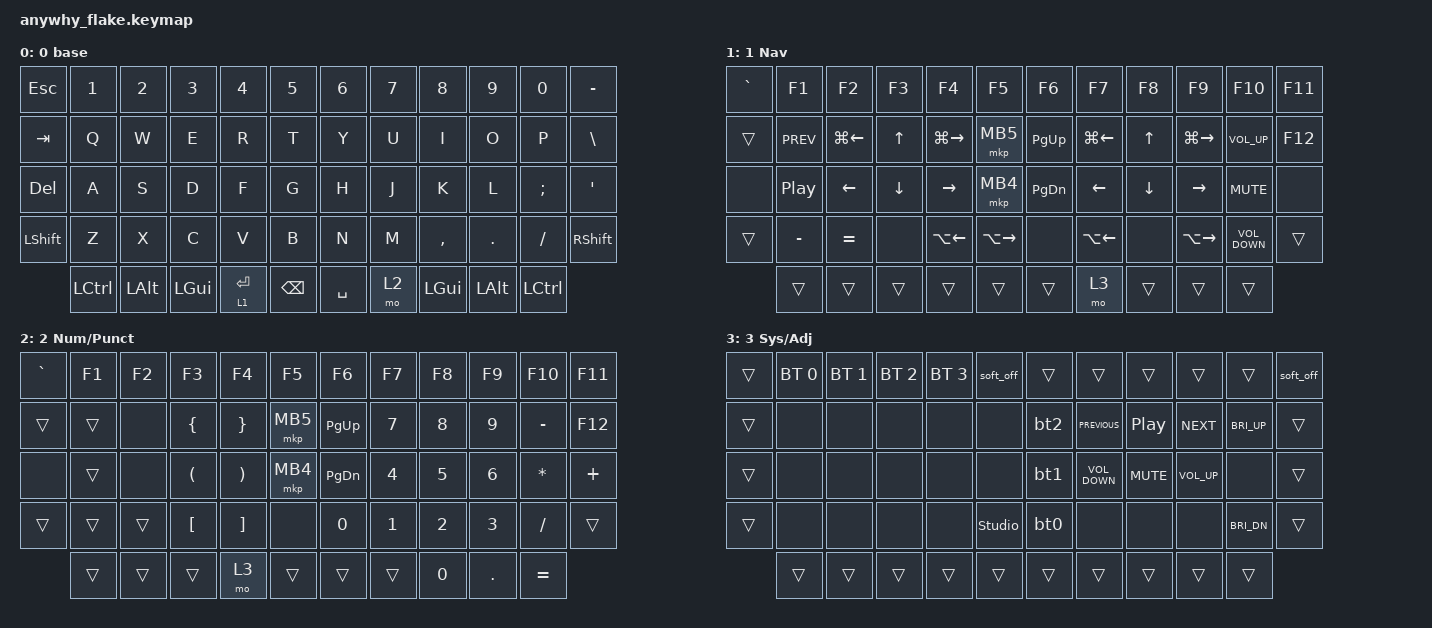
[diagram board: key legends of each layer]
#include <behaviors.dtsi>
#include <dt-bindings/zmk/bt.h>
#include <dt-bindings/zmk/keys.h>
#include <dt-bindings/zmk/pointing.h>

/ {
    combos {
        compatible = "zmk,combos";

        bt_sel_3 {
            bindings = <&bt3>;
            key-positions = <42 30>;
            layers = <3>;
        };

        bt_sel_4 {
            bindings = <&bt4>;
            key-positions = <30 18>;
            layers = <3>;
        };

        CAPLOCK {
            bindings = <&kp CAPSLOCK>;
            key-positions = <36 47>;
            timeout-ms = <100>;
        };
    };

    macros {
        bt_clr_0: bt_clr_0 {
            compatible = "zmk,behavior-macro";
            #binding-cells = <0>;
            bindings = <&bt BT_SEL 0 &bt BT_CLR>;
            label = "BT_CLR_0";
        };

        bt_clr_1: bt_clr_1 {
            compatible = "zmk,behavior-macro";
            #binding-cells = <0>;
            bindings = <&bt BT_SEL 1 &bt BT_CLR>;
            label = "BT_CLR_1";
        };

        bt_clr_2: bt_clr_2 {
            compatible = "zmk,behavior-macro";
            #binding-cells = <0>;
            bindings = <&bt BT_SEL 2 &bt BT_CLR>;
            label = "BT_CLR_2";
        };

        bt_clr_3: bt_clr_3 {
            compatible = "zmk,behavior-macro";
            #binding-cells = <0>;
            bindings = <&bt BT_SEL 3 &bt BT_CLR>;
            label = "BT_CLR_3";
        };

        bt_clr_4: bt_clr_4 {
            compatible = "zmk,behavior-macro";
            #binding-cells = <0>;
            bindings = <&bt BT_SEL 4 &bt BT_CLR>;
            label = "BT_CLR_4";
        };
    };

    behaviors {
        bt0: bt0 {
            compatible = "zmk,behavior-mod-morph";
            label = "BT0";
            bindings = <&bt BT_SEL 0>, <&bt_clr_0>;

            #binding-cells = <0>;
            mods = <(MOD_LSFT|MOD_RSFT)>;
        };

        bt1: bt1 {
            compatible = "zmk,behavior-mod-morph";
            label = "BT1";
            bindings = <&bt BT_SEL 1>, <&bt_clr_1>;

            #binding-cells = <0>;
            mods = <(MOD_LSFT|MOD_RSFT)>;
        };

        bt2: bt2 {
            compatible = "zmk,behavior-mod-morph";
            label = "BT2";
            bindings = <&bt BT_SEL 2>, <&bt_clr_2>;

            #binding-cells = <0>;
            mods = <(MOD_LSFT|MOD_RSFT)>;
        };

        bt3: bt3 {
            compatible = "zmk,behavior-mod-morph";
            label = "BT3";
            bindings = <&bt BT_SEL 3>, <&bt_clr_3>;

            #binding-cells = <0>;
            mods = <(MOD_LSFT|MOD_RSFT)>;
        };

        bt4: bt4 {
            compatible = "zmk,behavior-mod-morph";
            label = "BT4";
            bindings = <&bt BT_SEL 4>, <&bt_clr_4>;

            #binding-cells = <0>;
            mods = <(MOD_LSFT|MOD_RSFT)>;
        };
    };

    keymap {
        compatible = "zmk,keymap";

        base {
            bindings = <
&kp ESC    &kp N1     &kp N2    &kp N3    &kp N4       &kp N5           &kp N6     &kp N7  &kp N8     &kp N9    &kp N0     &kp MINUS
&kp TAB    &kp Q      &kp W     &kp E     &kp R        &kp T            &kp Y      &kp U   &kp I      &kp O     &kp P      &kp BSLH
&kp DEL    &kp A      &kp S     &kp D     &kp F        &kp G            &kp H      &kp J   &kp K      &kp L     &kp SEMI   &kp APOS
&kp LSHFT  &kp Z      &kp X     &kp C     &kp V        &kp B            &kp N      &kp M   &kp COMMA  &kp DOT   &kp FSLH   &kp RSHFT
           &kp LCTRL  &kp LALT  &kp LGUI  &lt 1 ENTER  &kp BACKSPACE    &kp SPACE  &mo 2   &kp LGUI   &kp LALT  &kp LCTRL
            >;

            display-name = "0 base";
        };

        nav {
            bindings = <
&kp GRAVE  &kp F1      &kp F2              &kp F3          &kp F4               &kp F5           &kp F6         &kp F7              &kp F8          &kp F9               &kp F10            &kp F11
&trans     &kp C_PREV  &kp LG(LEFT_ARROW)  &kp UP_ARROW    &kp LG(RIGHT_ARROW)  &mkp MB5         &kp PAGE_UP    &kp LG(LEFT_ARROW)  &kp UP_ARROW    &kp LG(RIGHT_ARROW)  &kp C_VOLUME_UP    &kp F12
&none      &kp C_PP    &kp LEFT_ARROW      &kp DOWN_ARROW  &kp RIGHT_ARROW      &mkp MB4         &kp PAGE_DOWN  &kp LEFT_ARROW      &kp DOWN_ARROW  &kp RIGHT_ARROW      &kp C_MUTE         &none
&trans     &kp MINUS   &kp EQUAL           &none           &kp LA(LEFT)         &kp LA(RIGHT)    &none          &kp LA(LEFT_ARROW)  &none           &kp LA(RIGHT_ARROW)  &kp C_VOLUME_DOWN  &trans
           &trans      &trans              &trans          &trans               &trans           &trans         &mo 3               &trans          &trans               &trans
            >;

            display-name = "1 Nav";
        };

        num_punc {
            bindings = <
&kp GRAVE  &kp F1  &kp F2  &kp F3                &kp F4                 &kp F5      &kp F6         &kp F7  &kp F8  &kp F9   &kp F10       &kp F11
&trans     &trans  &none   &kp LEFT_BRACE        &kp RIGHT_BRACE        &mkp MB5    &kp PAGE_UP    &kp N7  &kp N8  &kp N9   &kp MINUS     &kp F12
&none      &trans  &none   &kp LEFT_PARENTHESIS  &kp RIGHT_PARENTHESIS  &mkp MB4    &kp PAGE_DOWN  &kp N4  &kp N5  &kp N6   &kp ASTERISK  &kp PLUS
&trans     &trans  &trans  &kp LEFT_BRACKET      &kp RIGHT_BRACKET      &none       &kp N0         &kp N1  &kp N2  &kp N3   &kp FSLH      &trans
           &trans  &trans  &trans                &mo 3                  &trans      &trans         &trans  &kp N0  &kp DOT  &kp EQUAL
            >;

            display-name = "2 Num/Punct";
        };

        sys_adj {
            bindings = <
&trans  &bt BT_SEL 0  &bt BT_SEL 1  &bt BT_SEL 2  &bt BT_SEL 3  &soft_off         &trans  &trans             &trans      &trans           &trans        &soft_off
&trans  &none         &none         &none         &none         &none             &bt2    &kp C_PREVIOUS     &kp C_PP    &kp C_NEXT       &kp C_BRI_UP  &trans
&trans  &none         &none         &none         &none         &none             &bt1    &kp C_VOLUME_DOWN  &kp C_MUTE  &kp C_VOLUME_UP  &none         &trans
&trans  &none         &none         &none         &none         &studio_unlock    &bt0    &none              &none       &none            &kp C_BRI_DN  &trans
        &trans        &trans        &trans        &trans        &trans            &trans  &trans             &trans      &trans           &trans
            >;

            display-name = "3 Sys/Adj";
        };
    };
};
